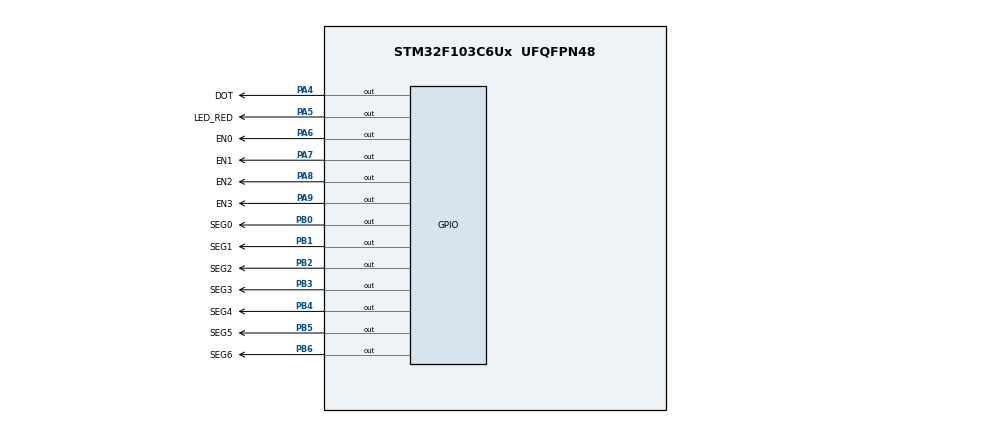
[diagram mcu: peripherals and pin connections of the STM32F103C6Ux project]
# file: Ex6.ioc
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Mcu.Family=STM32F1
Mcu.Name=STM32F103C6Ux
Mcu.Package=UFQFPN48
NVIC.PriorityGroup=NVIC_PRIORITYGROUP_4
NVIC.TIM2_IRQn=true\:0\:0\:false\:false\:true\:true\:true
PA4.GPIO_Label=DOT
PA4.Signal=GPIO_Output
PA5.GPIO_Label=LED_RED
PA5.Signal=GPIO_Output
PA6.GPIO_Label=EN0
PA6.Signal=GPIO_Output
PA7.GPIO_Label=EN1
PA7.Signal=GPIO_Output
PA8.GPIO_Label=EN2
PA8.Signal=GPIO_Output
PA9.GPIO_Label=EN3
PA9.Signal=GPIO_Output
PB0.GPIO_Label=SEG0
PB0.Signal=GPIO_Output
PB1.GPIO_Label=SEG1
PB1.Signal=GPIO_Output
PB2.GPIO_Label=SEG2
PB2.Signal=GPIO_Output
PB3.GPIO_Label=SEG3
PB3.Signal=GPIO_Output
PB4.GPIO_Label=SEG4
PB4.Signal=GPIO_Output
PB5.GPIO_Label=SEG5
PB5.Signal=GPIO_Output
PB6.GPIO_Label=SEG6
PB6.Signal=GPIO_Output
ProjectManager.HeapSize=0x200
ProjectManager.StackSize=0x400
ProjectManager.TargetToolchain=STM32CubeIDE
RCC.APB1Freq_Value=8000000
RCC.APB2Freq_Value=8000000
TIM2.Period=9
TIM2.Prescaler=7999
VP_SYS_VS_ND.Mode=No_Debug
VP_TIM2_VS_ClockSourceINT.Mode=Internal
board=custom

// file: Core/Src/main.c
/* USER CODE BEGIN Header */
/**
  ******************************************************************************
  * @file           : main.c
  * @brief          : Main program body
  ******************************************************************************
  * @attention
  *
  * <h2><center>&copy; Copyright (c) 2026 STMicroelectronics.
  * All rights reserved.</center></h2>
  *
  * This software component is licensed by ST under BSD 3-Clause license,
  * the "License"; You may not use this file except in compliance with the
  * License. You may obtain a copy of the License at:
  *                        opensource.org/licenses/BSD-3-Clause
  *
  ******************************************************************************
  */
/* USER CODE END Header */
#include "main.h"

/* USER CODE BEGIN Includes */
#include "led7seg.h"
#include "software_timer.h"
/* USER CODE END Includes */

TIM_HandleTypeDef htim2;

void SystemClock_Config(void);
static void MX_GPIO_Init(void);
static void MX_TIM2_Init(void);

int main(void)
{

  /* MCU Configuration--------------------------------------------------------*/

  /* Reset of all peripherals, Initializes the Flash interface and the Systick. */
  HAL_Init();

  /* Configure the system clock */
  SystemClock_Config();

  /* Initialize all configured peripherals */
  MX_GPIO_Init();
  MX_TIM2_Init();
  /* USER CODE BEGIN 2 */
  HAL_TIM_Base_Start_IT(&htim2);
  //int hour = 15, minute = 8, second = 50;
  //updateClockBuffer(hour, minute);

  setTimer0(1000);  // line test for report 1,2,3
  /* USER CODE END 2 */

  /* Infinite loop */
  /* USER CODE BEGIN WHILE */
  while (1)
  {
	  if (timer0_flag == 1) {
		  HAL_GPIO_TogglePin(LED_RED_GPIO_Port, LED_RED_Pin);
		  setTimer0(2000);
	  }

	  /*
	  second++;
	  if (second >= 60) {
		  second = 0;
		  minute++;
	  }
	  if (minute >= 60) {
		  minute = 0;
		  hour++;
	  }
	  if (hour >= 24) {
		  hour = 0;
	  }
	  updateClockBuffer(hour, minute);
	  HAL_Delay(1000);

	  */
    /* USER CODE END WHILE */

  }
}

void SystemClock_Config(void)
{
  RCC_OscInitTypeDef RCC_OscInitStruct = {0};
  RCC_ClkInitTypeDef RCC_ClkInitStruct = {0};

  /** Initializes the RCC Oscillators according to the specified parameters
  * in the RCC_OscInitTypeDef structure.
  */
  RCC_OscInitStruct.OscillatorType = RCC_OSCILLATORTYPE_HSI;
  RCC_OscInitStruct.HSIState = RCC_HSI_ON;
  RCC_OscInitStruct.HSICalibrationValue = RCC_HSICALIBRATION_DEFAULT;
  RCC_OscInitStruct.PLL.PLLState = RCC_PLL_NONE;
  if (HAL_RCC_OscConfig(&RCC_OscInitStruct) != HAL_OK)
  {
    Error_Handler();
  }
  /** Initializes the CPU, AHB and APB buses clocks
  */
  RCC_ClkInitStruct.ClockType = RCC_CLOCKTYPE_HCLK|RCC_CLOCKTYPE_SYSCLK
                              |RCC_CLOCKTYPE_PCLK1|RCC_CLOCKTYPE_PCLK2;
  RCC_ClkInitStruct.SYSCLKSource = RCC_SYSCLKSOURCE_HSI;
  RCC_ClkInitStruct.AHBCLKDivider = RCC_SYSCLK_DIV1;
  RCC_ClkInitStruct.APB1CLKDivider = RCC_HCLK_DIV1;
  RCC_ClkInitStruct.APB2CLKDivider = RCC_HCLK_DIV1;

  if (HAL_RCC_ClockConfig(&RCC_ClkInitStruct, FLASH_LATENCY_0) != HAL_OK)
  {
    Error_Handler();
  }
}

static void MX_TIM2_Init(void)
{

  TIM_ClockConfigTypeDef sClockSourceConfig = {0};
  TIM_MasterConfigTypeDef sMasterConfig = {0};

  htim2.Instance = TIM2;
  htim2.Init.Prescaler = 7999;
  htim2.Init.CounterMode = TIM_COUNTERMODE_UP;
  htim2.Init.Period = 9;
  htim2.Init.ClockDivision = TIM_CLOCKDIVISION_DIV1;
  htim2.Init.AutoReloadPreload = TIM_AUTORELOAD_PRELOAD_DISABLE;
  if (HAL_TIM_Base_Init(&htim2) != HAL_OK)
  {
    Error_Handler();
  }
  sClockSourceConfig.ClockSource = TIM_CLOCKSOURCE_INTERNAL;
  if (HAL_TIM_ConfigClockSource(&htim2, &sClockSourceConfig) != HAL_OK)
  {
    Error_Handler();
  }
  sMasterConfig.MasterOutputTrigger = TIM_TRGO_RESET;
  sMasterConfig.MasterSlaveMode = TIM_MASTERSLAVEMODE_DISABLE;
  if (HAL_TIMEx_MasterConfigSynchronization(&htim2, &sMasterConfig) != HAL_OK)
  {
    Error_Handler();
  }

}

static void MX_GPIO_Init(void)
{
  GPIO_InitTypeDef GPIO_InitStruct = {0};

  /* GPIO Ports Clock Enable */
  __HAL_RCC_GPIOA_CLK_ENABLE();
  __HAL_RCC_GPIOB_CLK_ENABLE();

  /*Configure GPIO pin Output Level */
  HAL_GPIO_WritePin(GPIOA, DOT_Pin|LED_RED_Pin|EN0_Pin|EN1_Pin
                          |EN2_Pin|EN3_Pin, GPIO_PIN_RESET);

  /*Configure GPIO pin Output Level */
  HAL_GPIO_WritePin(GPIOB, SEG0_Pin|SEG1_Pin|SEG2_Pin|SEG3_Pin
                          |SEG4_Pin|SEG5_Pin|SEG6_Pin, GPIO_PIN_RESET);

  /*Configure GPIO pins : DOT_Pin LED_RED_Pin EN0_Pin EN1_Pin
                           EN2_Pin EN3_Pin */
  GPIO_InitStruct.Pin = DOT_Pin|LED_RED_Pin|EN0_Pin|EN1_Pin
                          |EN2_Pin|EN3_Pin;
  GPIO_InitStruct.Mode = GPIO_MODE_OUTPUT_PP;
  GPIO_InitStruct.Pull = GPIO_NOPULL;
  GPIO_InitStruct.Speed = GPIO_SPEED_FREQ_LOW;
  HAL_GPIO_Init(GPIOA, &GPIO_InitStruct);

  /*Configure GPIO pins : SEG0_Pin SEG1_Pin SEG2_Pin SEG3_Pin
                           SEG4_Pin SEG5_Pin SEG6_Pin */
  GPIO_InitStruct.Pin = SEG0_Pin|SEG1_Pin|SEG2_Pin|SEG3_Pin
                          |SEG4_Pin|SEG5_Pin|SEG6_Pin;
  GPIO_InitStruct.Mode = GPIO_MODE_OUTPUT_PP;
  GPIO_InitStruct.Pull = GPIO_NOPULL;
  GPIO_InitStruct.Speed = GPIO_SPEED_FREQ_LOW;
  HAL_GPIO_Init(GPIOB, &GPIO_InitStruct);

}

/* USER CODE BEGIN 4 */
int counter_7seg = 1;
int counter_dot = 100; // 100*10ms = 1000ms (1s)

void HAL_TIM_PeriodElapsedCallback(TIM_HandleTypeDef *htim)
{

	timer_run();

    counter_7seg--;
    if (counter_7seg <= 0) {
        counter_7seg = 25; // Reset bộ đếm 500ms

        update7SEG(index_led++);

        if (index_led >= MAX_LED) {
        	index_led = 0;
        }
    }

    counter_dot--;
    if (counter_dot <= 0) {
    	counter_dot = 100;
    	HAL_GPIO_TogglePin(DOT_GPIO_Port, DOT_Pin);
    	//HAL_GPIO_TogglePin(LED_RED_GPIO_Port, LED_RED_Pin);
    }
}
/* USER CODE END 4 */

void Error_Handler(void)
{
  __disable_irq();
  while (1)
  {
  }
}

/************************ (C) COPYRIGHT STMicroelectronics *****END OF FILE****/
